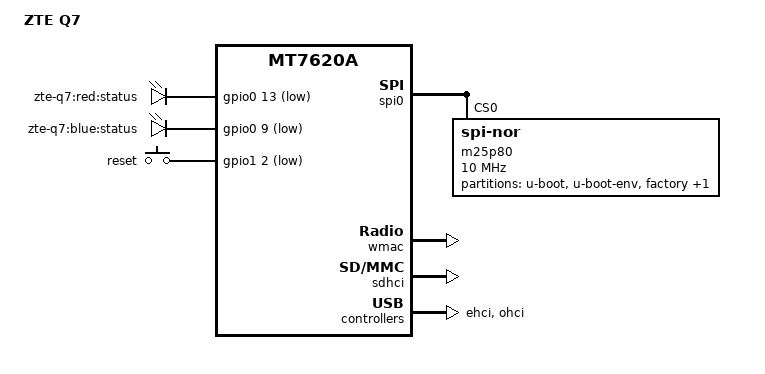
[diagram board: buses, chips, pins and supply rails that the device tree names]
/dts-v1/;

#include "mt7620a.dtsi"

/ {
	compatible = "ZTE-Q7", "ralink,mt7620a-soc";
	model = "ZTE Q7";

	gpio-leds {
		compatible = "gpio-leds";

		statred {
			label = "zte-q7:red:status";
			gpios = <&gpio0 13 1>;
		};

		statblue {
			label = "zte-q7:blue:status";
			gpios = <&gpio0 9 1>;
		};
	};

	gpio-keys-polled {
		compatible = "gpio-keys-polled";
		#address-cells = <1>;
		#size-cells = <0>;
		poll-interval = <20>;

		reset {
			label = "reset";
			gpios = <&gpio1 2 1>;
			linux,code = <0x198>;
		};
	};
};

&gpio0 {
	status = "okay";
};

&gpio1 {
	status = "okay";
};

&spi0 {
	status = "okay";

	m25p80@0 {
		#address-cells = <1>;
		#size-cells = <1>;
		compatible = "jedec,spi-nor";
		reg = <0>;
		linux,modalias = "m25p80", "en25q64";
		spi-max-frequency = <10000000>;

		partition@0 {
			label = "u-boot";
			reg = <0x0 0x30000>;
			read-only;
		};

		partition@30000 {
			label = "u-boot-env";
			reg = <0x30000 0x10000>;
			read-only;
		};

		factory: partition@40000 {
			label = "factory";
			reg = <0x40000 0x10000>;
			read-only;
		};

		partition@50000 {
			label = "firmware";
			reg = <0x50000 0x7b0000>;
		};
	};
};

&pinctrl {
	state_default: pinctrl0 {
		gpio {
			ralink,group = "i2c", "uartf", "rgmii1", "rgmii2", "ephy", "wled", "nd_sd";
			ralink,function = "gpio";
		};
	};
};

&ethernet {
	pinctrl-names = "default";
	pinctrl-0 = <&ephy_pins>;
	mtd-mac-address = <&factory 0x4>;
	mediatek,portmap = "wllll";
};

&wmac {
	ralink,mtd-eeprom = <&factory 0>;
};

&sdhci {
	status = "okay";
};

&ehci {
	status = "okay";
};

&ohci {
	status = "okay";
};
